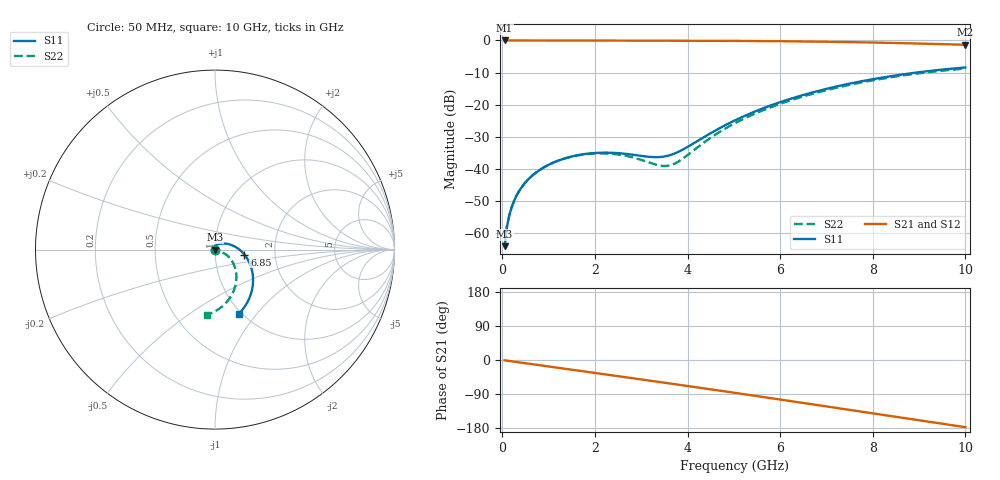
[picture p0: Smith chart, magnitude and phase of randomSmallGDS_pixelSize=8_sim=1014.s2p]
! freq	dB(S11)	phase(S11)	dB(S12)	phase(S12)
!  dB(S21)	phase(S21)	dB(S22)	phase(S22)
!S-par simulation data
#  GHz  S  DB  R 50
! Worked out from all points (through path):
!   200 points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, 50 MHz to 10 GHz, reference 50 ohm
!   highest |S21| = 0.00 dB at 50 MHz (marker M1); lowest = -1.3 dB at 10 GHz (marker M2)
!   group delay of S21, straight-line fit = 49.4 ps
!   lowest |S11| = -64.0 dB at 50 MHz (marker M3), VSWR 1.00, Z = 50 - j0.0632 ohm
!   |S11| at or under -10 dB: start of sweep to 8.934 GHz
!   |S22| runs from -63.9 to -8.7 dB; largest |S21 - S12| = 0
!   S11 on the Smith chart (normalised r, x): 50 MHz: 1.00, -0.00; 6.85 GHz: 1.39, -0.08; 10 GHz: 0.98, -0.81
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0.05  -63.98 -88.3  -0.00 -0.9  -0.00 -0.9  -63.94 -87.8
0.1  -57.97 -90.9  -0.00 -1.7  -0.00 -1.7  -57.93 -89.9
0.15  -54.46 -92.6  -0.00 -2.6  -0.00 -2.6  -54.42 -91.1
0.2  -51.97 -94.0  -0.00 -3.4  -0.00 -3.4  -51.93 -92.0
0.35  -47.17 -97.8  -0.01 -6.0  -0.01 -6.0  -47.13 -94.4
0.5  -44.16 -101.5  -0.01 -8.6  -0.01 -8.6  -44.13 -96.5
0.7  -41.41 -106.4  -0.01 -12.0  -0.01 -12.0  -41.38 -99.3
1  -38.68 -113.8  -0.02 -17.1  -0.02 -17.1  -38.67 -103.2
1.35  -36.68 -122.7  -0.03 -23.0  -0.03 -23.0  -36.70 -107.4
1.75  -35.39 -133.8  -0.03 -29.8  -0.03 -29.8  -35.48 -111.4
2.5  -35.04 -160.0  -0.05 -42.6  -0.05 -42.6  -35.47 -114.6
3.4  -36.26 140.2  -0.07 -58.2  -0.07 -58.2  -38.90 -86.4
3.75  -34.97 106.9  -0.08 -64.2  -0.08 -64.2  -38.11 -54.4
4.55  -28.42 54.4  -0.11 -78.3  -0.11 -78.3  -29.77 -22.2
5.05  -24.67 35.5  -0.14 -87.2  -0.14 -87.2  -25.54 -22.0
5.8  -20.20 14.4  -0.21 -100.6  -0.21 -100.6  -20.76 -29.0
6.7  -16.16 -6.4  -0.34 -117.1  -0.34 -117.1  -16.58 -41.6
6.85  -15.59 -9.6  -0.37 -119.8  -0.37 -119.8  -16.00 -44.0
7.65  -12.99 -26.1  -0.55 -134.5  -0.55 -134.5  -13.35 -56.9
8.35  -11.20 -39.7  -0.75 -147.4  -0.75 -147.4  -11.54 -68.7
9.15  -9.62 -54.5  -1.02 -162.0  -1.02 -162.0  -9.95 -82.5
10  -8.39 -69.4  -1.34 -177.3  -1.34 -177.3  -8.73 -97.2
